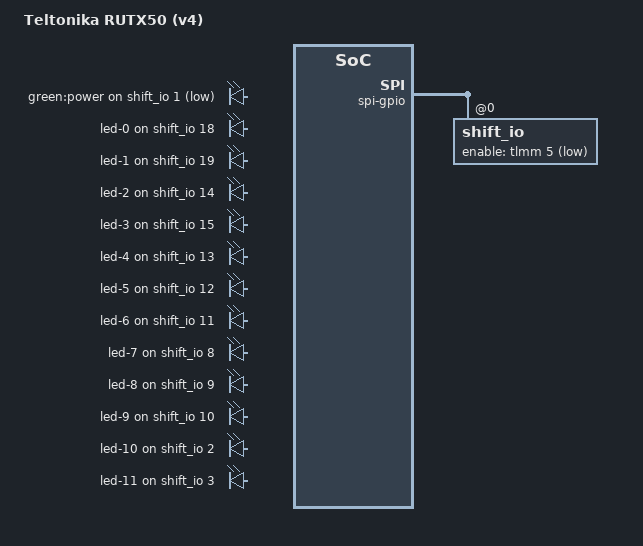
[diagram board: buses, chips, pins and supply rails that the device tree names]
// SPDX-License-Identifier: GPL-2.0-or-later OR MIT
/*
 * Teltonika RUTX50 from hardware version 4.00: a third 74HC595 with its
 * output enable on tlmm 5, and new LED, modem and SIM select pins.
 * Pin map from the hardware description shipped in Teltonika
 * RUTX_R_SDK_00.07.26.3.
 */

#include "qcom-ipq4018-rutx50.dts"

/ {
	model = "Teltonika RUTX50 (v4)";
	compatible = "teltonika,rutx50-v4";

	aliases {
		led-boot = &led_power;
		led-failsafe = &led_power;
		led-running = &led_power;
		led-upgrade = &led_power;
	};

	soc {
		gpio-export {
			gpio_modem_reset {
				gpios = <&shift_io 16 GPIO_ACTIVE_HIGH>;
			};

			gpio_modem_power {
				gpios = <&shift_io 17 GPIO_ACTIVE_HIGH>;
			};

			gpio_out_1 {
				gpios = <&shift_io 20 GPIO_ACTIVE_HIGH>;
			};
		};

		leds {
			led_power: led-power {
				label = "green:power";
				gpios = <&shift_io 1 GPIO_ACTIVE_LOW>;
				default-state = "on";
			};

			led-0 {
				gpios = <&shift_io 18 GPIO_ACTIVE_HIGH>;
			};

			led-1 {
				gpios = <&shift_io 19 GPIO_ACTIVE_HIGH>;
			};

			led-2 {
				gpios = <&shift_io 14 GPIO_ACTIVE_HIGH>;
			};

			led-3 {
				gpios = <&shift_io 15 GPIO_ACTIVE_HIGH>;
			};

			led-4 {
				gpios = <&shift_io 13 GPIO_ACTIVE_HIGH>;
			};

			led-5 {
				gpios = <&shift_io 12 GPIO_ACTIVE_HIGH>;
			};

			led-6 {
				gpios = <&shift_io 11 GPIO_ACTIVE_HIGH>;
			};

			led-7 {
				gpios = <&shift_io 8 GPIO_ACTIVE_HIGH>;
			};

			led-8 {
				gpios = <&shift_io 9 GPIO_ACTIVE_HIGH>;
			};

			led-9 {
				gpios = <&shift_io 10 GPIO_ACTIVE_HIGH>;
			};

			led-10 {
				gpios = <&shift_io 2 GPIO_ACTIVE_HIGH>;
			};

			led-11 {
				gpios = <&shift_io 3 GPIO_ACTIVE_HIGH>;
			};
		};

		spi-gpio {
			shift_io@0 {
				registers-number = <3>;
				enable-gpios = <&tlmm 5 GPIO_ACTIVE_LOW>;
			};
		};
	};
};
